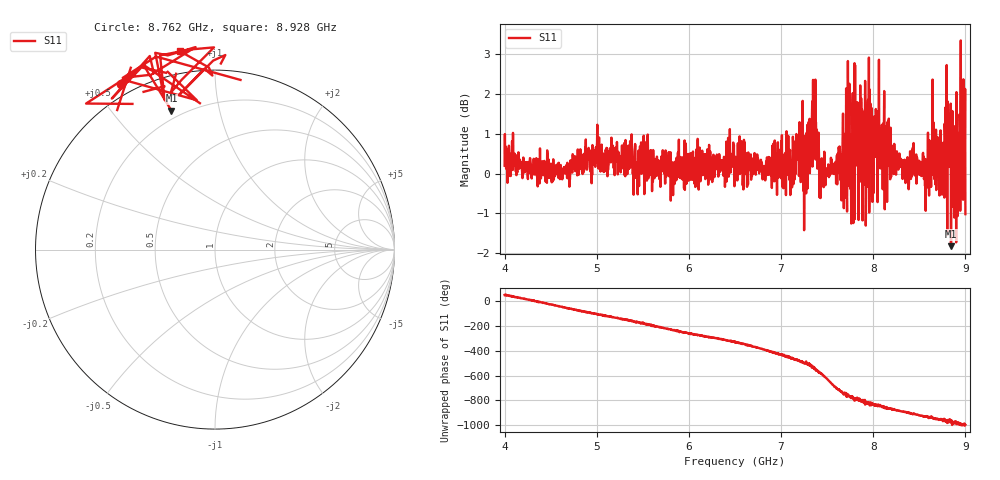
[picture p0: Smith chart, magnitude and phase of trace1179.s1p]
! Created with skrf 1.8.0 (http://scikit-rf.org).
# Hz S RI R 50.0
!freq ReS11 ImS11
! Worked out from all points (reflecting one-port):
!   1601 points, 4 GHz to 9 GHz, reference 50 ohm
!   lowest |S11| = -1.8 dB at 8.844 GHz (marker M1), VSWR 9.58, Z = 7.99 + j36.1 ohm
!   phase of S11 starts at 50 deg and turns -1047 deg over the sweep
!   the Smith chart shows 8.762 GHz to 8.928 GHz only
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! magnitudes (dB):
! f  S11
! 4 GHz  0.2
! 4.625 GHz  -0.1
! 5.25 GHz  0.2
! 5.875 GHz  0.1
! 6.5 GHz  0.3
! 7.125 GHz  0.5
! 7.209 GHz  0.7
! 7.269 GHz  0.3
! 7.353 GHz  1.3
! 7.438 GHz  -0.2
! 7.662 GHz  0.4
! 7.716 GHz  -1.0
! 7.75 GHz  -0.4
! 7.769 GHz  -0.3
! 7.822 GHz  0.3
! 7.909 GHz  0.9
! 7.962 GHz  2.1
! 7.981 GHz  1.3
! 8.038 GHz  0.5
! 8.375 GHz  0.1
! 8.603 GHz  0.0
! 8.656 GHz  0.3
! 8.728 GHz  0.1
! 8.816 GHz  1.5
! 8.844 GHz  -1.8
! 8.919 GHz  0.1
! 8.972 GHz  0.6
! 9 GHz  -1.0
